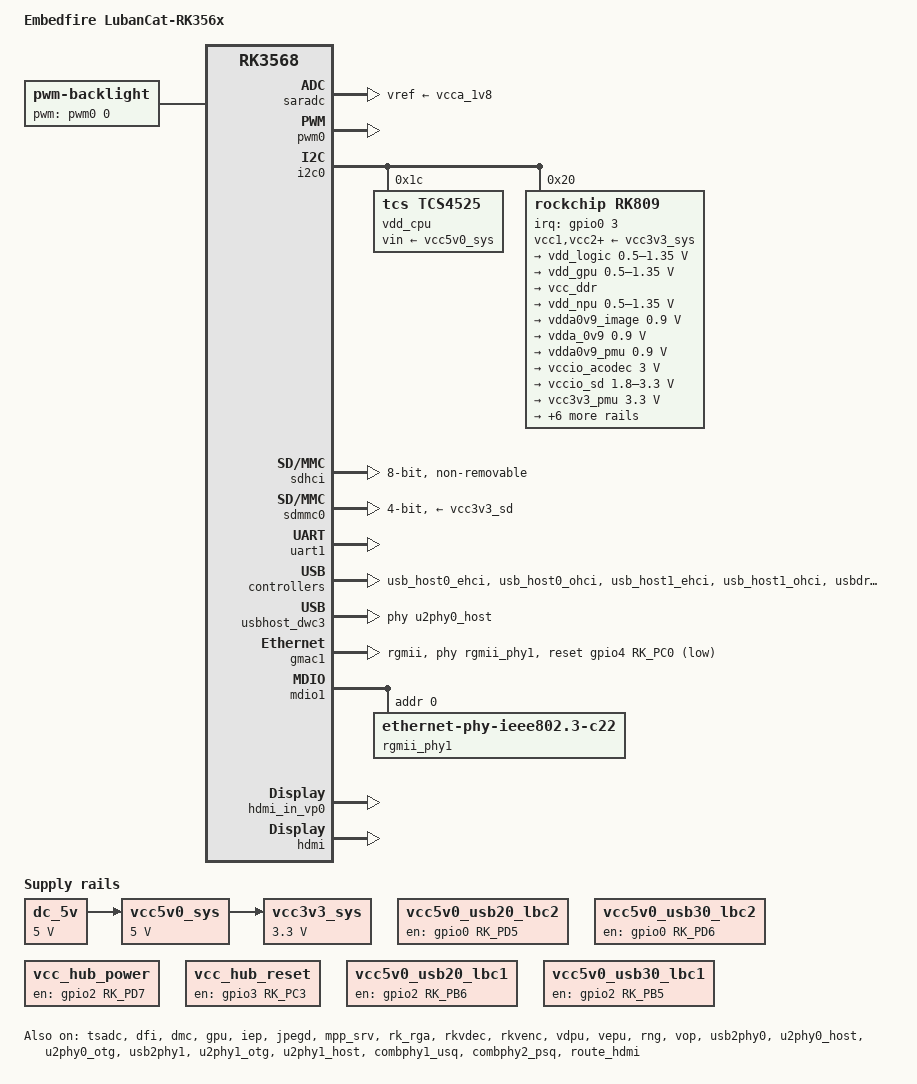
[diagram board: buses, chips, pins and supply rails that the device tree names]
// SPDX-License-Identifier: (GPL-2.0+ OR MIT)
/*
 * Copyright (c) 2020 Rockchip Electronics Co., Ltd.
 *
 */

 /dts-v1/;

#include <dt-bindings/gpio/gpio.h>
#include <dt-bindings/pwm/pwm.h>
#include <dt-bindings/pinctrl/rockchip.h>
#include <dt-bindings/input/rk-input.h>
#include <dt-bindings/display/drm_mipi_dsi.h>
#include <dt-bindings/sensor-dev.h>
#include "rk3566.dtsi"

/ {
	model = "Embedfire LubanCat-RK356x";
	compatible = "rockchip,rk3568-lubancat", "rockchip,rk3568";

	chosen: chosen {
		bootargs = "earlycon=uart8250,mmio32,0xfe660000 console=ttyFIQ0 console=tty1 root=PARTUUID=614e0000-0000 rw rootwait";
	};

	fiq-debugger {
		compatible = "rockchip,fiq-debugger";
		rockchip,serial-id = <2>;
		rockchip,wake-irq = <0>;
		/* If enable uart uses irq instead of fiq */
		rockchip,irq-mode-enable = <1>;
		rockchip,baudrate = <1500000>;  /* Only 115200 and 1500000 */
		interrupts = <GIC_SPI 252 IRQ_TYPE_LEVEL_LOW>;
		pinctrl-names = "default";
		pinctrl-0 = <&uart2m0_xfer>;
		status = "okay";
	};

	debug: debug@fd904000 {
		compatible = "rockchip,debug";
		reg = <0x0 0xfd904000 0x0 0x1000>,
			<0x0 0xfd905000 0x0 0x1000>,
			<0x0 0xfd906000 0x0 0x1000>,
			<0x0 0xfd907000 0x0 0x1000>;
	};

	cspmu: cspmu@fd90c000 {
		compatible = "rockchip,cspmu";
		reg = <0x0 0xfd90c000 0x0 0x1000>,
			<0x0 0xfd90d000 0x0 0x1000>,
			<0x0 0xfd90e000 0x0 0x1000>,
			<0x0 0xfd90f000 0x0 0x1000>;
	};

	reserved-memory {
		#address-cells = <2>;
		#size-cells = <2>;
		ranges;
		ramoops: ramoops@110000 {
			compatible = "ramoops";
			reg = <0x0 0x110000 0x0 0xf0000>;
			record-size = <0x20000>;
			console-size = <0x80000>;
			ftrace-size = <0x00000>;
			pmsg-size = <0x50000>;
		};
	};

	dc_5v: dc-5v {
		compatible = "regulator-fixed";
		regulator-name = "dc_5v";
		regulator-always-on;
		regulator-boot-on;
		regulator-min-microvolt = <5000000>;
		regulator-max-microvolt = <5000000>;
	};

	vcc5v0_sys: vcc5v0-sys {
		compatible = "regulator-fixed";
		regulator-name = "vcc5v0_sys";
		regulator-always-on;
		regulator-boot-on;
		regulator-min-microvolt = <5000000>;
		regulator-max-microvolt = <5000000>;
		vin-supply = <&dc_5v>;
	};

	vcc3v3_sys: vcc3v3-sys {
		compatible = "regulator-fixed";
		regulator-name = "vcc3v3_sys";
		regulator-always-on;
		regulator-boot-on;
		regulator-min-microvolt = <3300000>;
		regulator-max-microvolt = <3300000>;
		vin-supply = <&vcc5v0_sys>;
	};

	// LubanCat2 LubanCat2N LubanCat2IO
	vcc5v0_usb20_lbc2: vcc5v0-usb20-lbc2-regulator {
		compatible = "regulator-fixed";
		enable-active-high;
		gpio = <&gpio0 RK_PD5 GPIO_ACTIVE_HIGH>;
		pinctrl-names = "default";
		pinctrl-0 = <&vcc5v0_usb20_lbc2_en>;
		regulator-name = "vcc5v0_usb20_lbc2";
		regulator-always-on;
	};

	vcc5v0_usb30_lbc2: vcc5v0-usb30-lbc2-regulator {
		compatible = "regulator-fixed";
		enable-active-high;
		gpio = <&gpio0 RK_PD6 GPIO_ACTIVE_HIGH>;
		pinctrl-names = "default";
		pinctrl-0 = <&vcc5v0_usb30_lbc2_en>;
		regulator-name = "vcc5v0_usb30_lbc2";
		regulator-always-on;
	};

	// LubanCat2IO
	vcc_hub_power: vcc-hub-power-regulator {
		compatible = "regulator-fixed";
		enable-active-high;
		gpio = <&gpio2 RK_PD7 GPIO_ACTIVE_HIGH>;
		pinctrl-names = "default";
		pinctrl-0 = <&vcc_hub_power_en>;
		regulator-name = "vcc_hub_power_en";
		regulator-always-on;
	};

	vcc_hub_reset: vcc-hub-reset-regulator {
		compatible = "regulator-fixed";
		enable-active-high;
		gpio = <&gpio3 RK_PC3 GPIO_ACTIVE_HIGH>;
		pinctrl-names = "default";
		pinctrl-0 = <&vcc_hub_reset_en>;
		regulator-name = "vcc_hub_reset_en";
		regulator-always-on;
	};

	// LubanCat1
	vcc5v0_usb20_lbc1: vcc5v0-usb20-lbc1-regulator {
		compatible = "regulator-fixed";
		enable-active-high;
		gpio = <&gpio2 RK_PB6 GPIO_ACTIVE_HIGH>;
		pinctrl-names = "default";
		pinctrl-0 = <&vcc5v0_usb20_lbc1_en>;
		regulator-name = "vcc5v0_usb20_lbc1";
		regulator-always-on;
	};

	vcc5v0_usb30_lbc1: vcc5v0-usb30-lbc1-regulator {
		compatible = "regulator-fixed";
		enable-active-high;
		gpio = <&gpio2 RK_PB5 GPIO_ACTIVE_HIGH>;
		pinctrl-names = "default";
		pinctrl-0 = <&vcc5v0_usb30_lbc1_en>;
		regulator-name = "vcc5v0_usb30_lbc1";
		regulator-always-on;
	};

	backlight: backlight {
		status = "okay";
		compatible = "pwm-backlight";
		pwms = <&pwm0 0 50000 0>;
		brightness-levels = <
			 95  95  95  95  95  95  95  95
			 95  95  95  95  95  95  95  95
			 95  95  95  95  95  95  95  95
			 95  95  95  95  95  95  95  95
			 95  95  95  95  95  95  95  95
			 95  95  95  95  95  95  95  95
			 95  95  95  95  95  95  95  95
			 95  95  95  95  95  95  95  95
			 95  95  95  95  95  95  95  95
			 95  95  95  95  95  95  95  95
			 95  95  95  95  95  95  95  95
			 88  89  90  91  92  93  94  95
			 96  97  98  99 100 101 102 103
			104 105 106 107 108 109 110 111
			112 113 114 115 116 117 118 119
			120 121 122 123 124 125 126 127
			128 129 130 131 132 133 134 135
			136 137 138 139 140 141 142 143
			144 145 146 147 148 149 150 151
			152 153 154 155 156 157 158 159
			160 161 162 163 164 165 166 167
			168 169 170 171 172 173 174 175
			176 177 178 179 180 181 182 183
			184 185 186 187 188 189 190 191
			192 193 194 195 196 197 198 199
			200 201 202 203 204 205 206 207
			208 209 210 211 212 213 214 215
			216 217 218 219 220 221 222 223
			224 225 226 227 228 229 230 231
			232 233 234 235 236 237 238 239
			240 241 242 243 244 245 246 247
			248 249 250 251 252 253 254 255
		>;
		default-brightness-level = <200>;
	};

	test-power {
		status = "okay";
	};
};

&saradc {
	vref-supply = <&vcca_1v8>;
	status = "okay";
};

&tsadc {
	status = "okay";
};

&pwm0 {
	status = "okay";
	pinctrl-0 = <&pwm0m1_pins>;
};

&cpu0 {
	cpu-supply = <&vdd_cpu>;
};

&dfi {
	status = "okay";
};

&dmc {
	center-supply = <&vdd_logic>;
	status = "okay";
};

&gpu {
	mali-supply = <&vdd_gpu>;
	status = "okay";
};

&i2c0 {
	status = "okay";

	vdd_cpu: tcs4525@1c {
		compatible = "tcs,tcs4525";
		reg = <0x1c>;
		vin-supply = <&vcc5v0_sys>;
		regulator-compatible = "fan53555-reg";
		regulator-name = "vdd_cpu";
		regulator-min-microvolt = <712500>;
		regulator-max-microvolt = <1390000>;
		regulator-init-microvolt = <1000000>;
		regulator-ramp-delay = <2300>;
		fcs,suspend-voltage-selector = <1>;
		regulator-initial-mode = <0x1>;
		regulator-boot-on;
		regulator-always-on;
		regulator-state-mem {
			regulator-off-in-suspend;
		};
	};

	rk809: pmic@20 {
		compatible = "rockchip,rk809";
		reg = <0x20>;
		interrupt-parent = <&gpio0>;
		interrupts = <3 IRQ_TYPE_LEVEL_LOW>;

		pinctrl-names = "default", "pmic-sleep",
						"pmic-power-off", "pmic-reset";
		pinctrl-0 = <&pmic_int>;
		pinctrl-1 = <&soc_slppin_slp>, <&rk817_slppin_slp>;
		pinctrl-2 = <&soc_slppin_gpio>, <&rk817_slppin_pwrdn>;
		pinctrl-3 = <&soc_slppin_gpio>, <&rk817_slppin_rst>;

		rockchip,system-power-controller;
		wakeup-source;
		#clock-cells = <1>;
		clock-output-names = "rk808-clkout1", "rk808-clkout2";
		//fb-inner-reg-idxs = <2>;
		/* 1: rst regs (default in codes), 0: rst the pmic */
		pmic-reset-func = <0>;
		/* not save the PMIC_POWER_EN register in uboot */
		not-save-power-en = <1>;

		vcc1-supply = <&vcc3v3_sys>;
		vcc2-supply = <&vcc3v3_sys>;
		vcc3-supply = <&vcc3v3_sys>;
		vcc4-supply = <&vcc3v3_sys>;
		vcc5-supply = <&vcc3v3_sys>;
		vcc6-supply = <&vcc3v3_sys>;
		vcc7-supply = <&vcc3v3_sys>;
		vcc8-supply = <&vcc3v3_sys>;
		vcc9-supply = <&vcc3v3_sys>;

		pwrkey {
			status = "okay";
		};

		pinctrl_rk8xx: pinctrl_rk8xx {
			gpio-controller;
			#gpio-cells = <2>;

			rk817_slppin_null: rk817_slppin_null {
				pins = "gpio_slp";
				function = "pin_fun0";
			};

			rk817_slppin_slp: rk817_slppin_slp {
				pins = "gpio_slp";
				function = "pin_fun1";
			};

			rk817_slppin_pwrdn: rk817_slppin_pwrdn {
				pins = "gpio_slp";
				function = "pin_fun2";
			};

			rk817_slppin_rst: rk817_slppin_rst {
				pins = "gpio_slp";
				function = "pin_fun3";
			};
		};

		regulators {
			vdd_logic: DCDC_REG1 {
				regulator-always-on;
				regulator-boot-on;
				regulator-min-microvolt = <500000>;
				regulator-max-microvolt = <1350000>;
				regulator-init-microvolt = <900000>;
				regulator-ramp-delay = <6001>;
				regulator-initial-mode = <0x2>;
				regulator-name = "vdd_logic";
				regulator-state-mem {
					regulator-off-in-suspend;
				};
			};

			vdd_gpu: DCDC_REG2 {
				regulator-always-on;
				regulator-boot-on;
				regulator-min-microvolt = <500000>;
				regulator-max-microvolt = <1350000>;
				regulator-init-microvolt = <900000>;
				regulator-ramp-delay = <6001>;
				regulator-initial-mode = <0x2>;
				regulator-name = "vdd_gpu";
				regulator-state-mem {
					regulator-off-in-suspend;
				};
			};

			vcc_ddr: DCDC_REG3 {
				regulator-always-on;
				regulator-boot-on;
				regulator-initial-mode = <0x2>;
				regulator-name = "vcc_ddr";
				regulator-state-mem {
					regulator-on-in-suspend;
				};
			};

			vdd_npu: DCDC_REG4 {
				regulator-always-on;
				regulator-boot-on;
				regulator-min-microvolt = <500000>;
				regulator-max-microvolt = <1350000>;
				regulator-init-microvolt = <900000>;
				regulator-ramp-delay = <6001>;
				regulator-initial-mode = <0x2>;
				regulator-name = "vdd_npu";
				regulator-state-mem {
					regulator-off-in-suspend;
				};
			};

			vdda0v9_image: LDO_REG1 {
				regulator-boot-on;
				regulator-always-on;
				regulator-min-microvolt = <900000>;
				regulator-max-microvolt = <900000>;
				regulator-name = "vdda0v9_image";
				regulator-state-mem {
					regulator-off-in-suspend;
				};
			};

			vdda_0v9: LDO_REG2 {
				regulator-always-on;
				regulator-boot-on;
				regulator-min-microvolt = <900000>;
				regulator-max-microvolt = <900000>;
				regulator-name = "vdda_0v9";
				regulator-state-mem {
					regulator-off-in-suspend;
				};
			};

			vdda0v9_pmu: LDO_REG3 {
				regulator-always-on;
				regulator-boot-on;
				regulator-min-microvolt = <900000>;
				regulator-max-microvolt = <900000>;
				regulator-name = "vdda0v9_pmu";
				regulator-state-mem {
					regulator-on-in-suspend;
					regulator-suspend-microvolt = <900000>;
				};
			};

			vccio_acodec: LDO_REG4 {
				regulator-always-on;
				regulator-boot-on;
				regulator-min-microvolt = <3000000>;
				regulator-max-microvolt = <3000000>;
				regulator-name = "vccio_acodec";
				regulator-state-mem {
					regulator-off-in-suspend;
				};
			};

			vccio_sd: LDO_REG5 {
				regulator-always-on;
				regulator-boot-on;
				regulator-min-microvolt = <1800000>;
				regulator-max-microvolt = <3300000>;
				regulator-name = "vccio_sd";
				regulator-state-mem {
					regulator-off-in-suspend;
				};
			};

			vcc3v3_pmu: LDO_REG6 {
				regulator-always-on;
				regulator-boot-on;
				regulator-min-microvolt = <3300000>;
				regulator-max-microvolt = <3300000>;
				regulator-name = "vcc3v3_pmu";
				regulator-state-mem {
					regulator-on-in-suspend;
					regulator-suspend-microvolt = <3300000>;
				};
			};

			vcca_1v8: LDO_REG7 {
				regulator-always-on;
				regulator-boot-on;
				regulator-min-microvolt = <1800000>;
				regulator-max-microvolt = <1800000>;
				regulator-name = "vcca_1v8";
				regulator-state-mem {
					regulator-off-in-suspend;
				};
			};

			vcca1v8_pmu: LDO_REG8 {
				regulator-always-on;
				regulator-boot-on;
				regulator-min-microvolt = <1800000>;
				regulator-max-microvolt = <1800000>;
				regulator-name = "vcca1v8_pmu";
				regulator-state-mem {
					regulator-on-in-suspend;
					regulator-suspend-microvolt = <1800000>;
				};
			};

			vcca1v8_image: LDO_REG9 {
				regulator-always-on;
				regulator-boot-on;
				regulator-min-microvolt = <1800000>;
				regulator-max-microvolt = <1800000>;
				regulator-name = "vcca1v8_image";
				regulator-state-mem {
					regulator-off-in-suspend;
				};
			};

			vcc_1v8: DCDC_REG5 {
				regulator-always-on;
				regulator-boot-on;
				regulator-min-microvolt = <1800000>;
				regulator-max-microvolt = <1800000>;
				regulator-name = "vcc_1v8";
				regulator-state-mem {
					regulator-off-in-suspend;
				};
			};

			vcc_3v3: SWITCH_REG1 {
				regulator-always-on;
				regulator-boot-on;
				regulator-name = "vcc_3v3";
				regulator-state-mem {
					regulator-off-in-suspend;
				};
			};

			vcc3v3_sd: SWITCH_REG2 {
				regulator-always-on;
				regulator-boot-on;
				regulator-name = "vcc3v3_sd";
				regulator-state-mem {
					regulator-off-in-suspend;
				};
			};
		};
	};
};

&iep {
	status = "okay";
};

&iep_mmu {
	status = "okay";
};

&jpegd {
	status = "okay";
};

&jpegd_mmu {
	status = "okay";
};

&mpp_srv {
	status = "okay";
};

&pmu_io_domains {
	status = "okay";
	pmuio1-supply = <&vcc3v3_pmu>;
	pmuio2-supply = <&vcc3v3_pmu>;
	vccio1-supply = <&vccio_acodec>;
	vccio3-supply = <&vccio_sd>;
	vccio4-supply = <&vcc_3v3>;
	vccio5-supply = <&vcc_3v3>;
	vccio6-supply = <&vcc_3v3>;
	vccio7-supply = <&vcc_3v3>;
};

&rk_rga {
	status = "okay";
};

&rkvdec {
	status = "okay";
};

&rkvdec_mmu {
	status = "okay";
};

&rkvenc {
	venc-supply = <&vdd_logic>;
	status = "okay";
};

&rkvenc_mmu {
	status = "okay";
};

&sdhci {
	bus-width = <8>;
	supports-emmc;
	no-sdio;
	no-sd;
	non-removable;
	max-frequency = <200000000>;
	full-pwr-cycle-in-suspend;
	status = "okay";
};

&sdmmc0 {
	max-frequency = <150000000>;
	supports-sd;
	no-sdio;
	no-mmc;
	bus-width = <4>;
	cap-mmc-highspeed;
	cap-sd-highspeed;
	disable-wp;
	sd-uhs-sdr104;
	vmmc-supply = <&vcc3v3_sd>;
	vqmmc-supply = <&vccio_sd>;
	pinctrl-names = "default";
	pinctrl-0 = <&sdmmc0_bus4 &sdmmc0_clk &sdmmc0_cmd &sdmmc0_det>;
	status = "okay";
};

&uart1 {
	status = "okay";
	pinctrl-names = "default";
	pinctrl-0 = <&uart1m0_xfer &uart1m0_ctsn>;
};

&vdpu {
	status = "okay";
};

&vdpu_mmu {
	status = "okay";
};

&vepu {
	status = "okay";
};

&vepu_mmu {
	status = "okay";
};

&vop_mmu {
	status = "okay";
};

&rng {
	status = "okay";
};

&vop {
	status = "okay";
	assigned-clocks = <&cru DCLK_VOP0>, <&cru DCLK_VOP1>, <&cru DCLK_VOP2>;
	assigned-clock-parents = <&pmucru PLL_HPLL>, <&cru PLL_VPLL>, <&cru PLL_GPLL>;
};

/* USB OTG/USB Host_1 USB 2.0 Comb */
&usb2phy0 {
	status = "okay";
};

&u2phy0_host {
	status = "okay";
};

&u2phy0_otg {
	status = "okay";
};

&usb_host0_ehci {
	status = "okay";
};

&usb_host0_ohci {
	status = "okay";
};

/* USB Host_2/USB Host_3 USB 2.0 Comb */
&usb2phy1 {
	status = "okay";
};

&u2phy1_otg {
	status = "okay";
};

&u2phy1_host {
	status = "okay";
};

&usb_host1_ehci {
	status = "okay";
};

&usb_host1_ohci {
	status = "okay";
};

/* USB3.0 OTG Only USB2.0 */
&usbdrd30 {
	status = "okay";
};

&usbdrd_dwc3 {
	status = "okay";
};

/* USB3.0 Host to USB2.0 only */
&combphy1_usq {
	rockchip,dis-u3otg1-port; /* 配置 dwc3_1 控制器最高支持 high speed */
	status = "okay";
};

&usbhost30 {
	status = "okay";
};

&usbhost_dwc3 {
	phys = <&u2phy0_host>; /* 配置 phys 属性只引用 usb 2.0 phy 节点 */
	phy-names = "usb2-phy";
	maximum-speed = "high-speed"; /* 配置 dwc3 控制器最高支持 high speed */
	status = "okay";
};

&gmac1 {
	phy-mode = "rgmii";
	clock_in_out = "input";

	snps,reset-gpio = <&gpio4 RK_PC0 GPIO_ACTIVE_LOW>;
	snps,reset-active-low;
	/* Reset time is 100ms, 100ms */
	snps,reset-delays-us = <0 100000 100000>;

	assigned-clocks = <&cru SCLK_GMAC1_RX_TX>, <&cru SCLK_GMAC1>;
	assigned-clock-parents = <&cru SCLK_GMAC1_RGMII_SPEED>, <&gmac1_clkin>;
	assigned-clock-rates = <0>, <125000000>;

	pinctrl-names = "default";
	pinctrl-0 = <&gmac1m1_miim
					&gmac1m1_tx_bus2
					&gmac1m1_rx_bus2
					&gmac1m1_rgmii_clk
					&gmac1m1_rgmii_bus
					&gmac1m1_clkinout>;

	tx_delay = <0x16>;
	rx_delay = <0x0a>;

	phy-handle = <&rgmii_phy1>;
	status = "okay";
};

&mdio1 {
	rgmii_phy1: phy@0 {
		compatible = "ethernet-phy-ieee802.3-c22";
		reg = <0x0>;
	};
};

&combphy2_psq {
		status = "okay";
};

&route_hdmi {
	status = "okay";
	connect = <&vp0_out_hdmi>;
};

&hdmi_in_vp0 {
	status = "okay";
};

&hdmi_in_vp1 {
	status = "disabled";
};

&hdmi {
	status = "okay";
};

&pinctrl {
	pmic {
		pmic_int: pmic_int {
			rockchip,pins = <0 RK_PA3 RK_FUNC_GPIO &pcfg_pull_up>;
		};

		soc_slppin_gpio: soc_slppin_gpio {
			rockchip,pins = <0 RK_PA2 RK_FUNC_GPIO &pcfg_output_low_pull_down>;
		};

		soc_slppin_slp: soc_slppin_slp {
			rockchip,pins = <0 RK_PA2 RK_FUNC_1 &pcfg_pull_up>;
		};

		soc_slppin_rst: soc_slppin_rst {
			rockchip,pins = <0 RK_PA2 RK_FUNC_2 &pcfg_pull_none>;
		};

		spk_ctl_gpio: spk_ctl_gpio {
			rockchip,pins = <3 RK_PC5 RK_FUNC_GPIO &pcfg_pull_up>;
		};
	};

	usb {
		vcc5v0_usb20_lbc2_en: vcc5v0-usb20-lbc2-en {
			rockchip,pins = <0 RK_PD5 RK_FUNC_GPIO &pcfg_pull_none>;
		};

		vcc5v0_usb30_lbc2_en: vcc5v0-usb30-lbc2-en {
			rockchip,pins = <0 RK_PD6 RK_FUNC_GPIO &pcfg_pull_none>;
		};

		vcc5v0_usb20_lbc1_en: vcc5v0-usb20-lbc1-en {
			rockchip,pins = <2 RK_PB6 RK_FUNC_GPIO &pcfg_pull_none>;
		};

		vcc5v0_usb30_lbc1_en: vcc5v0-usb30-lbc1-en {
			rockchip,pins = <2 RK_PB5 RK_FUNC_GPIO &pcfg_pull_none>;
		};

		vcc_hub_power_en: vcc-hub-power-en {
			rockchip,pins = <2 RK_PD7 RK_FUNC_GPIO &pcfg_pull_none>;
		};

		vcc_hub_reset_en: vcc-hub-reset-en {
			rockchip,pins = <3 RK_PC3 RK_FUNC_GPIO &pcfg_pull_none>;
		};
	};
};
